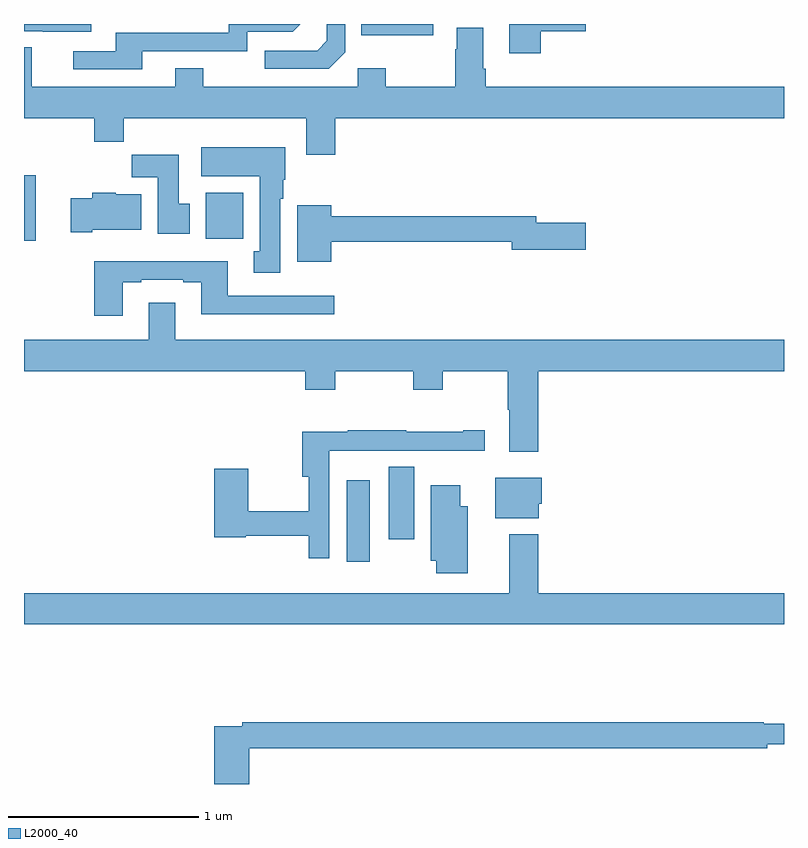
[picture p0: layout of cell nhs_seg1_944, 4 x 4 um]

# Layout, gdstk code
import gdstk
lib = gdstk.Library(unit=1e-6, precision=1e-09)
def R(c, l, rs):  # rectangles x0, y0, x1, y1
    for r in rs: c.add(gdstk.rectangle(r[:2], r[2:], *l))
def P(c, l, *ps):  # polygons
    for p in ps: c.add(gdstk.Polygon(p, *l))
L2000_40 = (2000, 40)

nhs_seg1_944 = lib.new_cell('nhs_seg1_944')
R(nhs_seg1_944, L2000_40, [(162.698,577.368,162.82,577.798), (162.92,577.488,163.054,577.868), (161,579.059,161.062,579.403), (161.957,579.068,162.154,579.31), (162.775,580.139,163.153,580.199)])
P(nhs_seg1_944, L2000_40, [(161.353,580.199),(161,580.199),(161,580.161),(161.099,580.161),(161.099,580.157),(161.353,580.157)],
  [(161.623,580.056),(162.174,580.056),(162.174,580.158),(162.414,580.158),(162.455,580.199),(162.078,580.199),(162.078,580.152),(161.483,580.152),(161.483,580.056),(161.259,580.056),(161.259,579.96),(161.623,579.96)],
  [(162.69,580.05),(162.69,580.199),(162.594,580.199),(162.594,580.11),(162.543,580.059),(162.267,580.059),(162.267,579.963),(162.603,579.963)],
  [(163.721,580.162),(163.957,580.162),(163.957,580.199),(163.553,580.199),(163.553,580.044),(163.721,580.044)],
  [(162.638,579.704),(165,579.704),(165,579.868),(163.43,579.868),(163.43,579.964),(163.417,579.964),(163.417,580.18),(163.277,580.18),(163.277,580.067),(163.27,580.067),(163.27,579.868),(162.903,579.868),(162.903,579.967),(162.756,579.967),(162.756,579.868),(161.943,579.868),(161.943,579.967),(161.795,579.967),(161.795,579.868),(161.041,579.868),(161.041,580.076),(161,580.076),(161,579.704),(161.369,579.704),(161.369,579.58),(161.525,579.58),(161.525,579.704),(162.485,579.704),(162.485,579.51),(162.638,579.51)],
  [(162.349,579.278),(162.364,579.278),(162.364,579.378),(162.376,579.378),(162.376,579.55),(161.933,579.55),(161.933,579.398),(162.242,579.398),(162.242,579.002),(162.209,579.002),(162.209,578.889),(162.349,578.889)],
  [(161.872,579.252),(161.815,579.252),(161.815,579.511),(161.566,579.511),(161.566,579.392),(161.705,579.392),(161.705,579.096),(161.872,579.096)],
  [(161.359,579.116),(161.617,579.116),(161.617,579.304),(161.484,579.304),(161.484,579.31),(161.359,579.31),(161.359,579.282),(161.247,579.282),(161.247,579.104),(161.359,579.104)],
  [(162.616,579.052),(163.568,579.052),(163.568,579.01),(163.957,579.01),(163.957,579.152),(163.696,579.152),(163.696,579.188),(162.616,579.188),(162.616,579.244),(162.437,579.244),(162.437,578.948),(162.616,578.948)],
  [(161.521,578.841),(161.617,578.841),(161.617,578.853),(161.837,578.853),(161.837,578.841),(161.933,578.841),(161.933,578.672),(162.634,578.672),(162.634,578.769),(162.073,578.769),(162.073,578.95),(161.369,578.95),(161.369,578.664),(161.521,578.664)],
  [(163.706,578.372),(165,578.372),(165,578.536),(161.797,578.536),(161.797,578.731),(161.657,578.731),(161.657,578.536),(161,578.536),(161,578.372),(162.479,578.372),(162.479,578.273),(162.639,578.273),(162.639,578.372),(163.048,578.372),(163.048,578.273),(163.203,578.273),(163.203,578.372),(163.546,578.372),(163.546,578.168),(163.553,578.168),(163.553,577.947),(163.706,577.947)],
  [(162.606,577.952),(162.816,577.952),(162.816,577.953),(163.15,577.953),(163.15,577.952),(163.426,577.952),(163.426,578.062),(163.313,578.062),(163.313,578.052),(163.013,578.052),(163.013,578.062),(162.703,578.062),(162.703,578.052),(162.464,578.052),(162.464,577.817),(162.498,577.817),(162.498,577.634),(162.18,577.634),(162.18,577.858),(162.002,577.858),(162.002,577.498),(162.168,577.498),(162.168,577.506),(162.498,577.506),(162.498,577.386),(162.606,577.386)],
  [(163.708,577.674),(163.726,577.674),(163.726,577.81),(163.481,577.81),(163.481,577.598),(163.708,577.598)],
  [(163.336,577.66),(163.297,577.66),(163.297,577.771),(163.142,577.771),(163.142,577.373),(163.171,577.373),(163.171,577.308),(163.336,577.308)],
  [(165,577.204),(163.706,577.204),(163.706,577.513),(163.553,577.513),(163.553,577.204),(161,577.204),(161,577.04),(165,577.04)],
  [(162.185,576.388),(164.912,576.388),(164.912,576.407),(165,576.407),(165,576.517),(164.893,576.517),(164.893,576.524),(162.148,576.524),(162.148,576.504),(162.002,576.504),(162.002,576.199),(162.185,576.199)])

lib.write_gds('nhs_seg1_944.gds')
